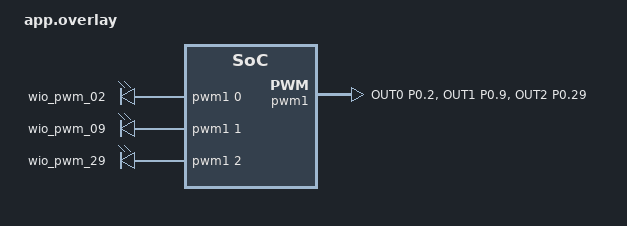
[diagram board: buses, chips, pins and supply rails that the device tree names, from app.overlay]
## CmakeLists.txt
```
cmake_minimum_required(VERSION 3.20.0)

find_package(Zephyr REQUIRED HINTS $ENV{ZEPHYR_BASE})

project(test_controller_wio)

target_sources(app PRIVATE
    src/main.c
    src/rgb_led.c
    ../common/myo_ble_client.c
)

target_include_directories(app PRIVATE
    ${CMAKE_CURRENT_SOURCE_DIR}/../common
)
```

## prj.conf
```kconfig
CONFIG_GPIO=y
CONFIG_PWM=y
CONFIG_INPUT=y
CONFIG_INPUT_GPIO_KEYS=y

CONFIG_LOG=y
CONFIG_LOG_DEFAULT_LEVEL=3
CONFIG_LOG_MODE_DEFERRED=y

CONFIG_BT=y
CONFIG_BT_CENTRAL=y
CONFIG_BT_GATT_CLIENT=y
CONFIG_BT_MAX_CONN=1
```

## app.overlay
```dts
#include <zephyr/dt-bindings/pinctrl/nrf-pinctrl.h>
#include <zephyr/dt-bindings/pwm/pwm.h>

&{/trackball} {
    debounce-interval-ms = <10>;
};

/ {
    wio_rgb_test_leds {
        compatible = "pwm-leds";

        /* Colors are deliberately unknown until the hardware test. */
        wio_pwm_02: pin_02 {
            pwms = <&pwm1 0 PWM_USEC(1000) PWM_POLARITY_INVERTED>;
        };
        wio_pwm_09: pin_09 {
            pwms = <&pwm1 1 PWM_USEC(1000) PWM_POLARITY_INVERTED>;
        };
        wio_pwm_29: pin_29 {
            pwms = <&pwm1 2 PWM_USEC(1000) PWM_POLARITY_INVERTED>;
        };
    };
};

&pinctrl {
    wio_rgb_pwm1_default: wio_rgb_pwm1_default {
        group1 {
            psels = <NRF_PSEL(PWM_OUT0, 0, 2)>,
                    <NRF_PSEL(PWM_OUT1, 0, 9)>,
                    <NRF_PSEL(PWM_OUT2, 0, 29)>;
        };
    };

    wio_rgb_pwm1_sleep: wio_rgb_pwm1_sleep {
        group1 {
            psels = <NRF_PSEL(PWM_OUT0, 0, 2)>,
                    <NRF_PSEL(PWM_OUT1, 0, 9)>,
                    <NRF_PSEL(PWM_OUT2, 0, 29)>;
            low-power-enable;
        };
    };
};

&pwm1 {
    status = "okay";
    pinctrl-0 = <&wio_rgb_pwm1_default>;
    pinctrl-1 = <&wio_rgb_pwm1_sleep>;
    pinctrl-names = "default", "sleep";
};

/* P0.09 is an NFC pin on nRF52840. This changes UICR when flashed. */
&uicr {
    nfct-pins-as-gpios;
};
```

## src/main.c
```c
#include <stdbool.h>
#include <stdint.h>

#include <zephyr/kernel.h>
#include <zephyr/device.h>
#include <zephyr/devicetree.h>
#include <zephyr/input/input.h>
#include <zephyr/logging/log.h>

#include "myo_ble_client.h"
#include "myo_ble.h"
#include "rgb_led.h"

LOG_MODULE_REGISTER(wio_controller, LOG_LEVEL_INF);

#define TRACKBALL_NODE DT_PATH(trackball)
#define EVENT_COOLDOWN_MS 200

enum key_index {
    KEY_UP,
    KEY_DOWN,
    KEY_LEFT,
    KEY_RIGHT,
    KEY_PRESS,
    KEY_COUNT
};

struct key_event {
    uint16_t code;
    bool pressed;
};

K_MSGQ_DEFINE(key_queue, sizeof(struct key_event), 16, 4);

static const struct device *const trackball = DEVICE_DT_GET(TRACKBALL_NODE);

static const enum myo_gesture gesture_map[KEY_COUNT] = {
    [KEY_UP] = MYO_GESTURE_SWIPE_UP,
    [KEY_DOWN] = MYO_GESTURE_SWIPE_DOWN,
    [KEY_LEFT] = MYO_GESTURE_SWIPE_LEFT,
    [KEY_RIGHT] = MYO_GESTURE_SWIPE_RIGHT,
    [KEY_PRESS] = MYO_GESTURE_TENSE,
};

static const char *const gesture_names[KEY_COUNT] = {
    [KEY_UP] = "SWIPE_UP",
    [KEY_DOWN] = "SWIPE_DOWN",
    [KEY_LEFT] = "SWIPE_LEFT",
    [KEY_RIGHT] = "SWIPE_RIGHT",
    [KEY_PRESS] = "TENSE",
};

static bool key_held[KEY_COUNT];
static bool direction_armed = true;
static int64_t last_direction_ms = -EVENT_COOLDOWN_MS;

static int key_to_index(uint16_t code)
{
    switch (code) {
    case INPUT_KEY_UP: return KEY_UP;
    case INPUT_KEY_DOWN: return KEY_DOWN;
    case INPUT_KEY_LEFT: return KEY_LEFT;
    case INPUT_KEY_RIGHT: return KEY_RIGHT;
    case INPUT_KEY_ENTER: return KEY_PRESS;
    default: return -1;
    }
}

static void trackball_callback(struct input_event *evt, void *user_data)
{
    ARG_UNUSED(user_data);

    if (evt->type != INPUT_EV_KEY || key_to_index(evt->code) < 0) {
        return;
    }

    struct key_event event = {
        .code = evt->code,
        .pressed = evt->value != 0
    };

    if (k_msgq_put(&key_queue, &event, K_NO_WAIT) != 0) {
        LOG_WRN("Input queue full");
    }
}

INPUT_CALLBACK_DEFINE(DEVICE_DT_GET(TRACKBALL_NODE), trackball_callback, NULL);

static bool all_directions_released(void)
{
    for (int i = KEY_UP; i <= KEY_RIGHT; i++) {
        if (key_held[i]) {
            return false;
        }
    }
    return true;
}

static void send_gesture(int index)
{
    if (!myo_ble_client_gesture_ready()) {
        LOG_WRN("%s ignored: BLE not ready", gesture_names[index]);
        return;
    }

    int err = myo_ble_client_send_gesture(gesture_map[index]);
    if (err) {
        LOG_WRN("%s send failed: %d", gesture_names[index], err);
        return;
    }
    LOG_INF("Sent: %s", gesture_names[index]);
}

static void handle_key_event(const struct key_event *event)
{
    int index = key_to_index(event->code);
    if (index < 0 || key_held[index] == event->pressed) {
        return;
    }

    key_held[index] = event->pressed;
    int64_t now = k_uptime_get();

    if (index == KEY_PRESS) {
        // Center sends TENSE once per press/release, regardless of hold time.
        if (!event->pressed) {
            send_gesture(KEY_PRESS);
        }
        return;
    }

    if (!event->pressed) {
        if (all_directions_released()) {
            direction_armed = true;
        }
        return;
    }

    if (!direction_armed) {
        return;
    }
    direction_armed = false;

    if (key_held[KEY_PRESS] || now - last_direction_ms < EVENT_COOLDOWN_MS) {
        return;
    }

    last_direction_ms = now;
    send_gesture(index);
}

int main(void)
{
    LOG_INF("GestureControl Wio test controller starting");

    if (!device_is_ready(trackball)) {
        LOG_ERR("Trackball not ready");
        return 0;
    }

    int rgb_err = wio_rgb_init();
    if (rgb_err) {
        LOG_WRN("RGB not available: %d", rgb_err);
    }

    // Normal test-controller operation: stay connected to MyoPC.
    int err = myo_ble_client_init_mode(MYO_MODE_COMPUTER);
    if (err) {
        LOG_ERR("BLE initialization failed: %d", err);
        return 0;
    }

    LOG_INF("Trackball sends computer gestures. Voice is laptop-only.");
    while (1) {
        struct key_event event;
        if (k_msgq_get(&key_queue, &event, K_FOREVER) == 0) {
            handle_key_event(&event);
        }
    }
    return 0;
}
```

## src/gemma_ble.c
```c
#include <errno.h>
#include <stdbool.h>
#include <stdint.h>

#include <zephyr/kernel.h>
#include <zephyr/sys/atomic.h>
#include <zephyr/logging/log.h>

#include <zephyr/bluetooth/bluetooth.h>
#include <zephyr/bluetooth/conn.h>
#include <zephyr/bluetooth/gatt.h>
#include <zephyr/bluetooth/hci.h>
#include <zephyr/bluetooth/uuid.h>

#include "gemma_ble.h"

LOG_MODULE_REGISTER(gemma_ble, LOG_LEVEL_INF);

#define GEMMA_SERVICE_UUID_BYTES \
    BT_UUID_128_ENCODE(0x89ca2ebf, 0x7c18, 0x4a33, \
                       0x9877, 0xdf55001abce2)

#define GEMMA_STATUS_UUID_BYTES \
    BT_UUID_128_ENCODE(0x89ca2ebf, 0x7c18, 0x4a33, \
                       0x9877, 0xdf55001abce3)

K_MUTEX_DEFINE(gemma_lock);

static struct bt_conn *host_conn;
static bool enabled;
static bool advertising;
static atomic_t gemma_recycle_pending;

static const uint8_t status_value = 1;

static ssize_t read_status(
    struct bt_conn *conn,
    const struct bt_gatt_attr *attr,
    void *buf,
    uint16_t len,
    uint16_t offset)
{
    return bt_gatt_attr_read(
        conn, attr, buf, len, offset,
        &status_value, sizeof(status_value));
}

BT_GATT_SERVICE_DEFINE(gemma_service,
    BT_GATT_PRIMARY_SERVICE(
        BT_UUID_DECLARE_128(GEMMA_SERVICE_UUID_BYTES)),

    BT_GATT_CHARACTERISTIC(
        BT_UUID_DECLARE_128(GEMMA_STATUS_UUID_BYTES),
        BT_GATT_CHRC_READ,
        BT_GATT_PERM_READ,
        read_status,
        NULL,
        NULL)
);

static const struct bt_data ad[] = {
    BT_DATA_BYTES(
        BT_DATA_FLAGS,
        BT_LE_AD_GENERAL | BT_LE_AD_NO_BREDR),

    BT_DATA_BYTES(
        BT_DATA_UUID128_ALL,
        GEMMA_SERVICE_UUID_BYTES),
};

static const struct bt_data sd[] = {
    BT_DATA(
        BT_DATA_NAME_COMPLETE,
        "GestureGemma",
        sizeof("GestureGemma") - 1),
};

static void gemma_connected(
    struct bt_conn *conn,
    uint8_t err)
{
    if (err) {
        return;
    }

    struct bt_conn_info info;

    if (bt_conn_get_info(conn, &info) != 0 ||
        info.role != BT_CONN_ROLE_PERIPHERAL) {
        return;
    }

    bool reject = false;

    k_mutex_lock(&gemma_lock, K_FOREVER);

    if (enabled && host_conn == NULL) {
        host_conn = bt_conn_ref(conn);
        advertising = false;
    } else {
        reject = true;
    }

    k_mutex_unlock(&gemma_lock);

    if (reject) {
        bt_conn_disconnect(
            conn, BT_HCI_ERR_REMOTE_USER_TERM_CONN);
        return;
    }

    LOG_INF("Gemma laptop connected");
}

static void gemma_disconnected(
    struct bt_conn *conn,
    uint8_t reason)
{
    k_mutex_lock(&gemma_lock, K_FOREVER);

    if (host_conn != conn) {
        k_mutex_unlock(&gemma_lock);
        return;
    }

    atomic_set(&gemma_recycle_pending, 1);

    bt_conn_unref(host_conn);
    host_conn = NULL;

    k_mutex_unlock(&gemma_lock);

    LOG_INF("Gemma laptop disconnected: %u", reason);
}

static void gemma_recycled(void)
{
    atomic_set(&gemma_recycle_pending, 0);
    LOG_DBG("Gemma connection resources released");
}

BT_CONN_CB_DEFINE(gemma_callbacks) = {
    .connected = gemma_connected,
    .disconnected = gemma_disconnected,
    .recycled = gemma_recycled,
};

int gemma_ble_poll(void)
{
    k_mutex_lock(&gemma_lock, K_FOREVER);

    bool should_start =
        enabled &&
        !advertising &&
        host_conn == NULL &&
        atomic_get(&gemma_recycle_pending) == 0;

    if (should_start) {
        advertising = true;
    }

    k_mutex_unlock(&gemma_lock);

    if (!should_start) {
        return 0;
    }

    int err = bt_le_adv_start(
        BT_LE_ADV_CONN_FAST_1,
        ad, ARRAY_SIZE(ad),
        sd, ARRAY_SIZE(sd));

    if (err && err != -EALREADY) {
        k_mutex_lock(&gemma_lock, K_FOREVER);
        advertising = false;
        k_mutex_unlock(&gemma_lock);

        LOG_ERR("Gemma advertising failed: %d", err);
        return err;
    }

    LOG_INF("Advertising as GestureGemma");
    return 0;
}

int gemma_ble_start(void)
{
    k_mutex_lock(&gemma_lock, K_FOREVER);
    enabled = true;
    k_mutex_unlock(&gemma_lock);

    return gemma_ble_poll();
}

int gemma_ble_stop(void)
{
    struct bt_conn *old_conn = NULL;

    k_mutex_lock(&gemma_lock, K_FOREVER);

    enabled = false;

    bool was_advertising = advertising;
    advertising = false;

    if (host_conn != NULL) {
        atomic_set(&gemma_recycle_pending, 1);
    }

    if (host_conn != NULL) {
        old_conn = bt_conn_ref(host_conn);
    }

    k_mutex_unlock(&gemma_lock);

    if (was_advertising) {
        int err = bt_le_adv_stop();

        if (err && err != -EALREADY) {
            k_mutex_lock(&gemma_lock, K_FOREVER);
            advertising = true;
            k_mutex_unlock(&gemma_lock);

            if (old_conn) {
                bt_conn_unref(old_conn);
            }

            return err;
        }
    }

    if (old_conn != NULL) {
        int err = bt_conn_disconnect(
            old_conn,
            BT_HCI_ERR_REMOTE_USER_TERM_CONN);

        bt_conn_unref(old_conn);

        if (err &&
            err != -ENOTCONN &&
            err != -EALREADY) {
            return err;
        }
    }

    LOG_INF("Gemma BLE stopped");
    return 0;
}

bool gemma_ble_idle(void)
{
    k_mutex_lock(&gemma_lock, K_FOREVER);

    bool idle =
        host_conn == NULL &&
        !advertising &&
        atomic_get(&gemma_recycle_pending) == 0;

    k_mutex_unlock(&gemma_lock);

    return idle;
}
```

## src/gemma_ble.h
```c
#ifndef GESTURE_GEMMA_BLE_H
#define GESTURE_GEMMA_BLE_H

#include <stdbool.h>

/* Start advertising for the Gemma laptop. */
int gemma_ble_start(void);

/* Stop advertising and disconnect the laptop. */
int gemma_ble_stop(void);

/* Restart advertising if the laptop disconnects. */
int gemma_ble_poll(void);

/* True after all Gemma BLE activity has stopped. */
bool gemma_ble_idle(void);

#endif
```

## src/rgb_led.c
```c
#include <errno.h>
#include <stddef.h>
#include <stdint.h>

#include <zephyr/kernel.h>
#include <zephyr/device.h>
#include <zephyr/devicetree.h>
#include <zephyr/drivers/pwm.h>
#include <zephyr/logging/log.h>

#include "rgb_led.h"

LOG_MODULE_REGISTER(wio_rgb, LOG_LEVEL_INF);

static const struct pwm_dt_spec pwm_channels[WIO_RGB_CHANNEL_COUNT] = {
    [WIO_RGB_PIN_02] = PWM_DT_SPEC_GET(DT_NODELABEL(wio_pwm_02)),
    [WIO_RGB_PIN_09] = PWM_DT_SPEC_GET(DT_NODELABEL(wio_pwm_09)),
    [WIO_RGB_PIN_29] = PWM_DT_SPEC_GET(DT_NODELABEL(wio_pwm_29)),
};

static const unsigned pin_numbers[WIO_RGB_CHANNEL_COUNT] = {2U, 9U, 29U};

int wio_rgb_set_channel(enum wio_rgb_channel channel, uint8_t percent)
{
    if ((unsigned)channel >= WIO_RGB_CHANNEL_COUNT || percent > 100U) {
        return -EINVAL;
    }

    const struct pwm_dt_spec *spec = &pwm_channels[channel];
    uint32_t pulse_ns = (uint32_t)(((uint64_t)spec->period * percent) / 100U);

    /* PWM_POLARITY_INVERTED: 0%=high/OFF, 100%=low/ON. */
    return pwm_set_dt(spec, spec->period, pulse_ns);
}

int wio_rgb_all_off(void)
{
    int first_error = 0;

    for (unsigned i = 0; i < WIO_RGB_CHANNEL_COUNT; ++i) {
        int err = wio_rgb_set_channel((enum wio_rgb_channel)i, 0U);

        if (err && !first_error) {
            first_error = err;
        }
    }

    return first_error;
}

int wio_rgb_init(void)
{
    for (unsigned i = 0; i < WIO_RGB_CHANNEL_COUNT; ++i) {
        if (!pwm_is_ready_dt(&pwm_channels[i])) {
            LOG_ERR("PWM for P0.%02u not ready", pin_numbers[i]);
            return -ENODEV;
        }
    }

    return wio_rgb_all_off();
}
```

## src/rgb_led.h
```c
#ifndef WIO_RGB_LED_H
#define WIO_RGB_LED_H

#include <stdint.h>

/* Raw pin channels, not color names: color order is being measured. */
enum wio_rgb_channel {
    WIO_RGB_PIN_02 = 0,
    WIO_RGB_PIN_09,
    WIO_RGB_PIN_29,
    WIO_RGB_CHANNEL_COUNT
};

/* The common-anode RGB LED uses active-low PWM outputs. */
int wio_rgb_init(void);
int wio_rgb_set_channel(enum wio_rgb_channel channel, uint8_t percent);
int wio_rgb_all_off(void);

#endif
```
